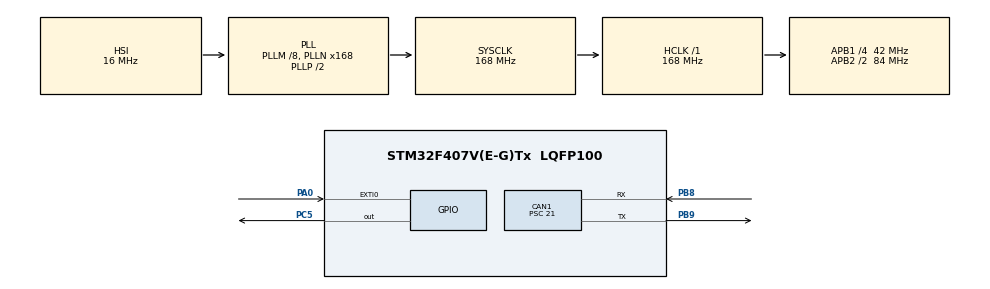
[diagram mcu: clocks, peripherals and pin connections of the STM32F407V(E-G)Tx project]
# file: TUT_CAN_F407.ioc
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CAN1.BS1=CAN_BS1_2TQ
CAN1.CalculateBaudRate=500000
CAN1.CalculateTimeBit=2000
CAN1.CalculateTimeQuantum=500.0
CAN1.Prescaler=21
Mcu.Family=STM32F4
Mcu.Name=STM32F407V(E-G)Tx
Mcu.Package=LQFP100
NVIC.CAN1_RX0_IRQn=true\:1\:0\:true\:false\:true\:true\:true\:true
NVIC.CAN1_RX1_IRQn=true\:1\:0\:true\:false\:true\:true\:true\:true
NVIC.EXTI0_IRQn=true\:0\:0\:true\:false\:true\:true\:true\:true
NVIC.PriorityGroup=NVIC_PRIORITYGROUP_4
PA0-WKUP.GPIO_ModeDefaultEXTI=GPIO_MODE_IT_RISING
PA0-WKUP.GPIO_PuPd=GPIO_PULLDOWN
PA0-WKUP.Signal=GPXTI0
PA13.Mode=Serial_Wire
PA13.Signal=SYS_JTMS-SWDIO
PA14.Mode=Serial_Wire
PA14.Signal=SYS_JTCK-SWCLK
PB8.Mode=CAN_Activate
PB8.Signal=CAN1_RX
PB9.Mode=CAN_Activate
PB9.Signal=CAN1_TX
PC5.Signal=GPIO_Output
PH0-OSC_IN.Mode=HSE-External-Oscillator
PH0-OSC_IN.Signal=RCC_OSC_IN
PH1-OSC_OUT.Mode=HSE-External-Oscillator
PH1-OSC_OUT.Signal=RCC_OSC_OUT
ProjectManager.HeapSize=0x200
ProjectManager.StackSize=0x400
ProjectManager.TargetToolchain=MDK-ARM V5.32
RCC.48MHZClocksFreq_Value=84000000
RCC.AHBFreq_Value=168000000
RCC.APB1CLKDivider=RCC_HCLK_DIV4
RCC.APB1Freq_Value=42000000
RCC.APB1TimFreq_Value=84000000
RCC.APB2CLKDivider=RCC_HCLK_DIV2
RCC.APB2Freq_Value=84000000
RCC.APB2TimFreq_Value=168000000
RCC.CortexFreq_Value=168000000
RCC.HCLKFreq_Value=168000000
RCC.HSE_VALUE=25000000
RCC.HSI_VALUE=16000000
RCC.LSE_VALUE=32768
RCC.PLLM=8
RCC.PLLN=168
RCC.SYSCLKFreq_VALUE=168000000
RCC.SYSCLKSource=RCC_SYSCLKSOURCE_PLLCLK
RCC.VCOOutputFreq_Value=336000000
board=custom

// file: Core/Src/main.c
/* USER CODE BEGIN Header */
/**
  ******************************************************************************
  * @file           : main.c
  * @brief          : Main program body
  ******************************************************************************
  * @attention
  *
  * Copyright (c) 2024 STMicroelectronics.
  * All rights reserved.
  *
  * This software is licensed under terms that can be found in the LICENSE file
  * in the root directory of this software component.
  * If no LICENSE file comes with this software, it is provided AS-IS.
  *
  ******************************************************************************
  */
/* USER CODE END Header */
#include "main.h"
#include "Button.h"

CAN_HandleTypeDef hcan1;

void SystemClock_Config(void);
static void MX_GPIO_Init(void);
static void MX_CAN1_Init(void);

/* USER CODE BEGIN 0 */
CAN_TxHeaderTypeDef Txheader;
CAN_RxHeaderTypeDef Rxheader;
uint8_t checkbt = 0;
Button_Typdef button;

uint32_t Txmailbox;

uint8_t Txdata[8];
uint8_t Rxdata[8];

uint8_t datacheck = 1;

void HAL_GPIO_EXTI_CALLBACK(uint16_t GPIO_PIN){
	if(GPIO_PIN == GPIO_PIN_0){
		Txdata[0] = 200;
		Txdata[1] = 20;
		HAL_CAN_AddTxMessage(&hcan1, &Txheader, Txdata, &Txmailbox);
	}
	checkbt = 1;
}
void btn_press_button_callback(Button_Typdef* Buttonx){
   // Do something
	 if(Buttonx->GPIO_Pin == GPIO_PIN_0){
		Txdata[0] = 200;
		Txdata[1] = 20;
		HAL_CAN_AddTxMessage(&hcan1, &Txheader, Txdata, &Txmailbox);
	}
	checkbt = 1;
}

void btn_release_button_callback(Button_Typdef* Buttonx){
  // Do something
	checkbt = 0;
}

void HAL_CAN_RxFifo0MsgPendingCallback(CAN_HandleTypeDef *hcan1){
	HAL_CAN_GetRxMessage(hcan1, CAN_RX_FIFO0, &Rxheader, Rxdata);
	if(Rxheader.DLC == 2){
		datacheck = 1;
	}
}
/* USER CODE END 0 */

int main(void)
{

  /* MCU Configuration--------------------------------------------------------*/

  /* Reset of all peripherals, Initializes the Flash interface and the Systick. */
  HAL_Init();

  /* Configure the system clock */
  SystemClock_Config();

  /* Initialize all configured peripherals */
  MX_GPIO_Init();
  MX_CAN1_Init();
  /* USER CODE BEGIN 2 */
	button_init(&button, GPIOA, GPIO_PIN_0);
  HAL_CAN_Start(&hcan1);

	HAL_CAN_ActivateNotification(&hcan1, CAN_IT_RX_FIFO0_MSG_PENDING);

	Txheader.DLC = 2;
	//Txheader.ExtId = 0;
	Txheader.IDE = CAN_ID_STD;
	Txheader.RTR = CAN_RTR_DATA;
	Txheader.StdId = 0x446;
  /* USER CODE END 2 */

  /* Infinite loop */
  while (1)
  {

    /* USER CODE BEGIN 3 */
		button_handle(&button);
		if(datacheck){
		 for(int i =0; i < Rxdata[1]; i++){
			HAL_GPIO_TogglePin(GPIOC, GPIO_PIN_5);
			HAL_Delay(Rxdata[0]);
		 }
		 datacheck = 0;
		}
  }
  /* USER CODE END 3 */
}

void SystemClock_Config(void)
{
  RCC_OscInitTypeDef RCC_OscInitStruct = {0};
  RCC_ClkInitTypeDef RCC_ClkInitStruct = {0};

  /** Configure the main internal regulator output voltage
  */
  __HAL_RCC_PWR_CLK_ENABLE();
  __HAL_PWR_VOLTAGESCALING_CONFIG(PWR_REGULATOR_VOLTAGE_SCALE1);

  /** Initializes the RCC Oscillators according to the specified parameters
  * in the RCC_OscInitTypeDef structure.
  */
  RCC_OscInitStruct.OscillatorType = RCC_OSCILLATORTYPE_HSI;
  RCC_OscInitStruct.HSIState = RCC_HSI_ON;
  RCC_OscInitStruct.HSICalibrationValue = RCC_HSICALIBRATION_DEFAULT;
  RCC_OscInitStruct.PLL.PLLState = RCC_PLL_ON;
  RCC_OscInitStruct.PLL.PLLSource = RCC_PLLSOURCE_HSI;
  RCC_OscInitStruct.PLL.PLLM = 8;
  RCC_OscInitStruct.PLL.PLLN = 168;
  RCC_OscInitStruct.PLL.PLLP = RCC_PLLP_DIV2;
  RCC_OscInitStruct.PLL.PLLQ = 4;
  if (HAL_RCC_OscConfig(&RCC_OscInitStruct) != HAL_OK)
  {
    Error_Handler();
  }

  /** Initializes the CPU, AHB and APB buses clocks
  */
  RCC_ClkInitStruct.ClockType = RCC_CLOCKTYPE_HCLK|RCC_CLOCKTYPE_SYSCLK
                              |RCC_CLOCKTYPE_PCLK1|RCC_CLOCKTYPE_PCLK2;
  RCC_ClkInitStruct.SYSCLKSource = RCC_SYSCLKSOURCE_PLLCLK;
  RCC_ClkInitStruct.AHBCLKDivider = RCC_SYSCLK_DIV1;
  RCC_ClkInitStruct.APB1CLKDivider = RCC_HCLK_DIV4;
  RCC_ClkInitStruct.APB2CLKDivider = RCC_HCLK_DIV2;

  if (HAL_RCC_ClockConfig(&RCC_ClkInitStruct, FLASH_LATENCY_5) != HAL_OK)
  {
    Error_Handler();
  }
}

static void MX_CAN1_Init(void)
{

  hcan1.Instance = CAN1;
  hcan1.Init.Prescaler = 21;
  hcan1.Init.Mode = CAN_MODE_NORMAL;
  hcan1.Init.SyncJumpWidth = CAN_SJW_1TQ;
  hcan1.Init.TimeSeg1 = CAN_BS1_2TQ;
  hcan1.Init.TimeSeg2 = CAN_BS2_1TQ;
  hcan1.Init.TimeTriggeredMode = DISABLE;
  hcan1.Init.AutoBusOff = DISABLE;
  hcan1.Init.AutoWakeUp = DISABLE;
  hcan1.Init.AutoRetransmission = DISABLE;
  hcan1.Init.ReceiveFifoLocked = DISABLE;
  hcan1.Init.TransmitFifoPriority = DISABLE;
  if (HAL_CAN_Init(&hcan1) != HAL_OK)
  {
    Error_Handler();
  }
  /* USER CODE BEGIN CAN1_Init 2 */
  CAN_FilterTypeDef canfilterconfig;

  canfilterconfig.FilterActivation = CAN_FILTER_ENABLE;
  canfilterconfig.FilterBank = 18;  // which filter bank to use from the assigned ones
  canfilterconfig.FilterFIFOAssignment = CAN_FILTER_FIFO0;
  canfilterconfig.FilterIdHigh = 0x103<<5;
  canfilterconfig.FilterIdLow = 0x0000;
  canfilterconfig.FilterMaskIdHigh = 0x103<<5;
  canfilterconfig.FilterMaskIdLow = 0x0000;
  canfilterconfig.FilterMode = CAN_FILTERMODE_IDMASK;
  canfilterconfig.FilterScale = CAN_FILTERSCALE_32BIT;
  canfilterconfig.SlaveStartFilterBank = 20;  // how many filters to assign to the CAN1 (master can)

  HAL_CAN_ConfigFilter(&hcan1, &canfilterconfig);
  /* USER CODE END CAN1_Init 2 */

}

static void MX_GPIO_Init(void)
{
  GPIO_InitTypeDef GPIO_InitStruct = {0};

  /* GPIO Ports Clock Enable */
  __HAL_RCC_GPIOH_CLK_ENABLE();
  __HAL_RCC_GPIOA_CLK_ENABLE();
  __HAL_RCC_GPIOC_CLK_ENABLE();
  __HAL_RCC_GPIOB_CLK_ENABLE();

  /*Configure GPIO pin Output Level */
  HAL_GPIO_WritePin(GPIOC, GPIO_PIN_5, GPIO_PIN_RESET);

  /*Configure GPIO pin : PA0 */
  GPIO_InitStruct.Pin = GPIO_PIN_0;
  GPIO_InitStruct.Mode = GPIO_MODE_IT_RISING;
  GPIO_InitStruct.Pull = GPIO_PULLDOWN;
  HAL_GPIO_Init(GPIOA, &GPIO_InitStruct);

  /*Configure GPIO pin : PC5 */
  GPIO_InitStruct.Pin = GPIO_PIN_5;
  GPIO_InitStruct.Mode = GPIO_MODE_OUTPUT_PP;
  GPIO_InitStruct.Pull = GPIO_NOPULL;
  GPIO_InitStruct.Speed = GPIO_SPEED_FREQ_LOW;
  HAL_GPIO_Init(GPIOC, &GPIO_InitStruct);

  /* EXTI interrupt init*/
  HAL_NVIC_SetPriority(EXTI0_IRQn, 0, 0);
  HAL_NVIC_EnableIRQ(EXTI0_IRQn);

}

void Error_Handler(void)
{
  __disable_irq();
  while (1)
  {
  }
}
